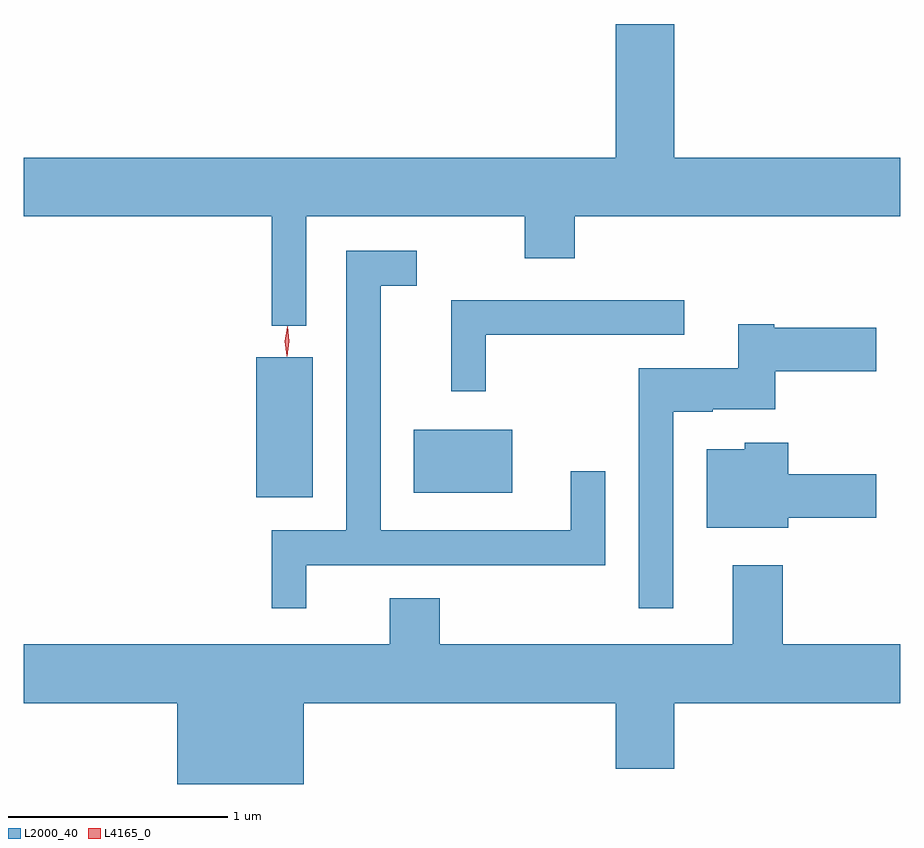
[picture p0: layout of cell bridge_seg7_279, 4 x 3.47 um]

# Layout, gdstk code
import gdstk
lib = gdstk.Library(unit=1e-6, precision=1e-09)
def R(c, l, rs):  # rectangles x0, y0, x1, y1
    for r in rs: c.add(gdstk.rectangle(r[:2], r[2:], *l))
def P(c, l, *ps):  # polygons
    for p in ps: c.add(gdstk.Polygon(p, *l))
L2000_40 = (2000, 40)
L4165_0 = (4165, 0)

bridge_seg7_279 = lib.new_cell('bridge_seg7_279')
R(bridge_seg7_279, L2000_40, [(1352.296,1766.316,1352.554,1766.954), (1353.016,1766.336,1353.464,1766.624)])
P(bridge_seg7_279, L2000_40, [(1352.524,1767.596),(1353.521,1767.596),(1353.521,1767.406),(1353.749,1767.406),(1353.749,1767.596),(1355.235,1767.596),(1355.235,1767.864),(1354.204,1767.864),(1354.204,1768.474),(1353.936,1768.474),(1353.936,1767.864),(1351.235,1767.864),(1351.235,1767.596),(1352.366,1767.596),(1352.366,1767.098),(1352.524,1767.098)],
  [(1352.524,1766.006),(1353.889,1766.006),(1353.889,1766.433),(1353.731,1766.433),(1353.731,1766.164),(1352.864,1766.164),(1352.864,1767.281),(1353.028,1767.281),(1353.028,1767.439),(1352.706,1767.439),(1352.706,1766.164),(1352.366,1766.164),(1352.366,1765.808),(1352.524,1765.808)],
  [(1353.344,1767.056),(1354.248,1767.056),(1354.248,1767.214),(1353.186,1767.214),(1353.186,1766.798),(1353.344,1766.798)],
  [(1354.199,1766.706),(1354.38,1766.706),(1354.38,1766.716),(1354.664,1766.716),(1354.664,1766.891),(1355.124,1766.891),(1355.124,1767.089),(1354.66,1767.089),(1354.66,1767.104),(1354.496,1767.104),(1354.496,1766.904),(1354.041,1766.904),(1354.041,1765.808),(1354.199,1765.808)],
  [(1354.724,1766.221),(1355.124,1766.221),(1355.124,1766.419),(1354.724,1766.419),(1354.724,1766.564),(1354.526,1766.564),(1354.526,1766.534),(1354.351,1766.534),(1354.351,1766.176),(1354.724,1766.176)],
  [(1352.514,1765.376),(1353.936,1765.376),(1353.936,1765.076),(1354.204,1765.076),(1354.204,1765.376),(1355.235,1765.376),(1355.235,1765.644),(1354.699,1765.644),(1354.699,1766.004),(1354.471,1766.004),(1354.471,1765.644),(1353.134,1765.644),(1353.134,1765.854),(1352.906,1765.854),(1352.906,1765.644),(1351.235,1765.644),(1351.235,1765.376),(1351.936,1765.376),(1351.936,1765.007),(1352.514,1765.007)])
P(bridge_seg7_279, L4165_0, [(1352.436,1766.958),(1352.428,1767.027),(1352.439,1767.095),(1352.439,1767.095),(1352.44,1767.095),(1352.448,1767.026),(1352.437,1766.958),(1352.437,1766.958)],
  [(1352.437,1766.96),(1352.436,1766.961),(1352.427,1767.026),(1352.437,1767.091),(1352.438,1767.092),(1352.438,1767.091),(1352.447,1767.026),(1352.437,1766.961)])

lib.write_gds('bridge_seg7_279.gds')
